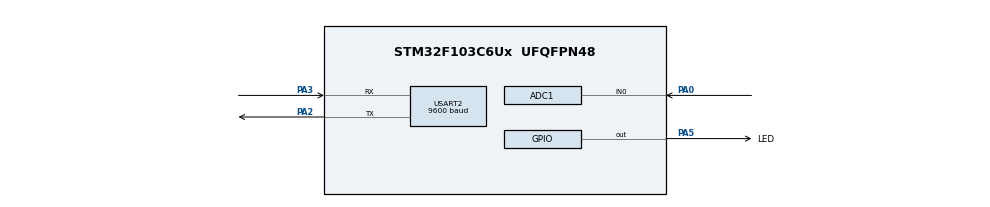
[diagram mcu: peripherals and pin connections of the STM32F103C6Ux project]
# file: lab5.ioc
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ADC1.Channel-1\#ChannelRegularConversion=ADC_CHANNEL_0
ADC1.ContinuousConvMode=ENABLE
ADC1.NbrOfConversionFlag=1
ADC1.Rank-1\#ChannelRegularConversion=1
ADC1.SamplingTime-1\#ChannelRegularConversion=ADC_SAMPLETIME_1CYCLE_5
ADC1.master=1
Mcu.Family=STM32F1
Mcu.Name=STM32F103C6Ux
Mcu.Package=UFQFPN48
NVIC.PriorityGroup=NVIC_PRIORITYGROUP_4
NVIC.USART2_IRQn=true\:0\:0\:false\:false\:true\:true\:true
PA0-WKUP.Signal=ADCx_IN0
PA2.Mode=Asynchronous
PA2.Signal=USART2_TX
PA3.Mode=Asynchronous
PA3.Signal=USART2_RX
PA5.GPIO_Label=LED
PA5.Signal=GPIO_Output
ProjectManager.HeapSize=0x200
ProjectManager.StackSize=0x400
ProjectManager.TargetToolchain=STM32CubeIDE
RCC.APB1Freq_Value=8000000
RCC.APB2Freq_Value=8000000
SH.ADCx_IN0.0=ADC1_IN0,IN0
USART2.BaudRate=9600
USART2.VirtualMode=VM_ASYNC
VP_SYS_VS_ND.Mode=No_Debug
board=custom

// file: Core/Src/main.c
/* USER CODE BEGIN Header */
/**
  ******************************************************************************
  * @file           : main.c
  * @brief          : Main program body
  ******************************************************************************
  * @attention
  *
  * <h2><center>&copy; Copyright (c) 2026 STMicroelectronics.
  * All rights reserved.</center></h2>
  *
  * This software component is licensed by ST under BSD 3-Clause license,
  * the "License"; You may not use this file except in compliance with the
  * License. You may obtain a copy of the License at:
  *                        opensource.org/licenses/BSD-3-Clause
  *
  ******************************************************************************
  */
/* USER CODE END Header */
#include "main.h"

/* USER CODE BEGIN Includes */
#include <stdio.h>
#include "command_parser.h"
#include "uart_communication.h"
/* USER CODE END Includes */

ADC_HandleTypeDef hadc1;

UART_HandleTypeDef huart2;

void SystemClock_Config(void);
static void MX_GPIO_Init(void);
static void MX_ADC1_Init(void);
static void MX_USART2_UART_Init(void);

/* USER CODE BEGIN 0 */
#define MAX_BUFFER_SIZE 30
uint8_t temp = 0;
uint8_t buffer[MAX_BUFFER_SIZE];
volatile uint8_t index_buffer = 0;
volatile uint8_t buffer_flag = 0;

void HAL_UART_RxCpltCallback(UART_HandleTypeDef *huart)
{
	if(huart->Instance == USART2)
	{
		buffer[index_buffer++] = temp;
		if(index_buffer == 30)
			index_buffer = 0;

		buffer_flag = 1;
		HAL_UART_Receive_IT(&huart2, &temp, 1);
	}
}
/* USER CODE END 0 */

int main(void)
{

  /* MCU Configuration--------------------------------------------------------*/

  /* Reset of all peripherals, Initializes the Flash interface and the Systick. */
  HAL_Init();

  /* Configure the system clock */
  SystemClock_Config();

  /* Initialize all configured peripherals */
  MX_GPIO_Init();
  MX_ADC1_Init();
  MX_USART2_UART_Init();
  /* USER CODE BEGIN 2 */
  HAL_ADC_Start(&hadc1);
  HAL_UART_Receive_IT(&huart2, &temp, 1);
  uint32_t blink_tick = HAL_GetTick();
  /* USER CODE END 2 */

  /* Infinite loop */
  /* USER CODE BEGIN WHILE */
  while (1)
  {
	if (buffer_flag == 1)
	{
		command_parser_fsm();
		buffer_flag = 0;
	}

	uart_communication_fsm();

    if (HAL_GetTick() - blink_tick >= 500)
    {
        blink_tick = HAL_GetTick();
        HAL_GPIO_TogglePin(LED_GPIO_Port, LED_Pin);
    }
  }
    /* USER CODE END WHILE */

}

void SystemClock_Config(void)
{
  RCC_OscInitTypeDef RCC_OscInitStruct = {0};
  RCC_ClkInitTypeDef RCC_ClkInitStruct = {0};
  RCC_PeriphCLKInitTypeDef PeriphClkInit = {0};

  /** Initializes the RCC Oscillators according to the specified parameters
  * in the RCC_OscInitTypeDef structure.
  */
  RCC_OscInitStruct.OscillatorType = RCC_OSCILLATORTYPE_HSI;
  RCC_OscInitStruct.HSIState = RCC_HSI_ON;
  RCC_OscInitStruct.HSICalibrationValue = RCC_HSICALIBRATION_DEFAULT;
  RCC_OscInitStruct.PLL.PLLState = RCC_PLL_NONE;
  if (HAL_RCC_OscConfig(&RCC_OscInitStruct) != HAL_OK)
  {
    Error_Handler();
  }
  /** Initializes the CPU, AHB and APB buses clocks
  */
  RCC_ClkInitStruct.ClockType = RCC_CLOCKTYPE_HCLK|RCC_CLOCKTYPE_SYSCLK
                              |RCC_CLOCKTYPE_PCLK1|RCC_CLOCKTYPE_PCLK2;
  RCC_ClkInitStruct.SYSCLKSource = RCC_SYSCLKSOURCE_HSI;
  RCC_ClkInitStruct.AHBCLKDivider = RCC_SYSCLK_DIV1;
  RCC_ClkInitStruct.APB1CLKDivider = RCC_HCLK_DIV1;
  RCC_ClkInitStruct.APB2CLKDivider = RCC_HCLK_DIV1;

  if (HAL_RCC_ClockConfig(&RCC_ClkInitStruct, FLASH_LATENCY_0) != HAL_OK)
  {
    Error_Handler();
  }
  PeriphClkInit.PeriphClockSelection = RCC_PERIPHCLK_ADC;
  PeriphClkInit.AdcClockSelection = RCC_ADCPCLK2_DIV2;
  if (HAL_RCCEx_PeriphCLKConfig(&PeriphClkInit) != HAL_OK)
  {
    Error_Handler();
  }
}

static void MX_ADC1_Init(void)
{

  ADC_ChannelConfTypeDef sConfig = {0};

  /** Common config
  */
  hadc1.Instance = ADC1;
  hadc1.Init.ScanConvMode = ADC_SCAN_DISABLE;
  hadc1.Init.ContinuousConvMode = ENABLE;
  hadc1.Init.DiscontinuousConvMode = DISABLE;
  hadc1.Init.ExternalTrigConv = ADC_SOFTWARE_START;
  hadc1.Init.DataAlign = ADC_DATAALIGN_RIGHT;
  hadc1.Init.NbrOfConversion = 1;
  if (HAL_ADC_Init(&hadc1) != HAL_OK)
  {
    Error_Handler();
  }
  /** Configure Regular Channel
  */
  sConfig.Channel = ADC_CHANNEL_0;
  sConfig.Rank = ADC_REGULAR_RANK_1;
  sConfig.SamplingTime = ADC_SAMPLETIME_1CYCLE_5;
  if (HAL_ADC_ConfigChannel(&hadc1, &sConfig) != HAL_OK)
  {
    Error_Handler();
  }

}

static void MX_USART2_UART_Init(void)
{

  huart2.Instance = USART2;
  huart2.Init.BaudRate = 9600;
  huart2.Init.WordLength = UART_WORDLENGTH_8B;
  huart2.Init.StopBits = UART_STOPBITS_1;
  huart2.Init.Parity = UART_PARITY_NONE;
  huart2.Init.Mode = UART_MODE_TX_RX;
  huart2.Init.HwFlowCtl = UART_HWCONTROL_NONE;
  huart2.Init.OverSampling = UART_OVERSAMPLING_16;
  if (HAL_UART_Init(&huart2) != HAL_OK)
  {
    Error_Handler();
  }

}

static void MX_GPIO_Init(void)
{
  GPIO_InitTypeDef GPIO_InitStruct = {0};

  /* GPIO Ports Clock Enable */
  __HAL_RCC_GPIOA_CLK_ENABLE();

  /*Configure GPIO pin Output Level */
  HAL_GPIO_WritePin(LED_GPIO_Port, LED_Pin, GPIO_PIN_RESET);

  /*Configure GPIO pin : LED_Pin */
  GPIO_InitStruct.Pin = LED_Pin;
  GPIO_InitStruct.Mode = GPIO_MODE_OUTPUT_PP;
  GPIO_InitStruct.Pull = GPIO_NOPULL;
  GPIO_InitStruct.Speed = GPIO_SPEED_FREQ_LOW;
  HAL_GPIO_Init(LED_GPIO_Port, &GPIO_InitStruct);

}

void Error_Handler(void)
{
  __disable_irq();
  while (1)
  {
  }
}

/************************ (C) COPYRIGHT STMicroelectronics *****END OF FILE****/
